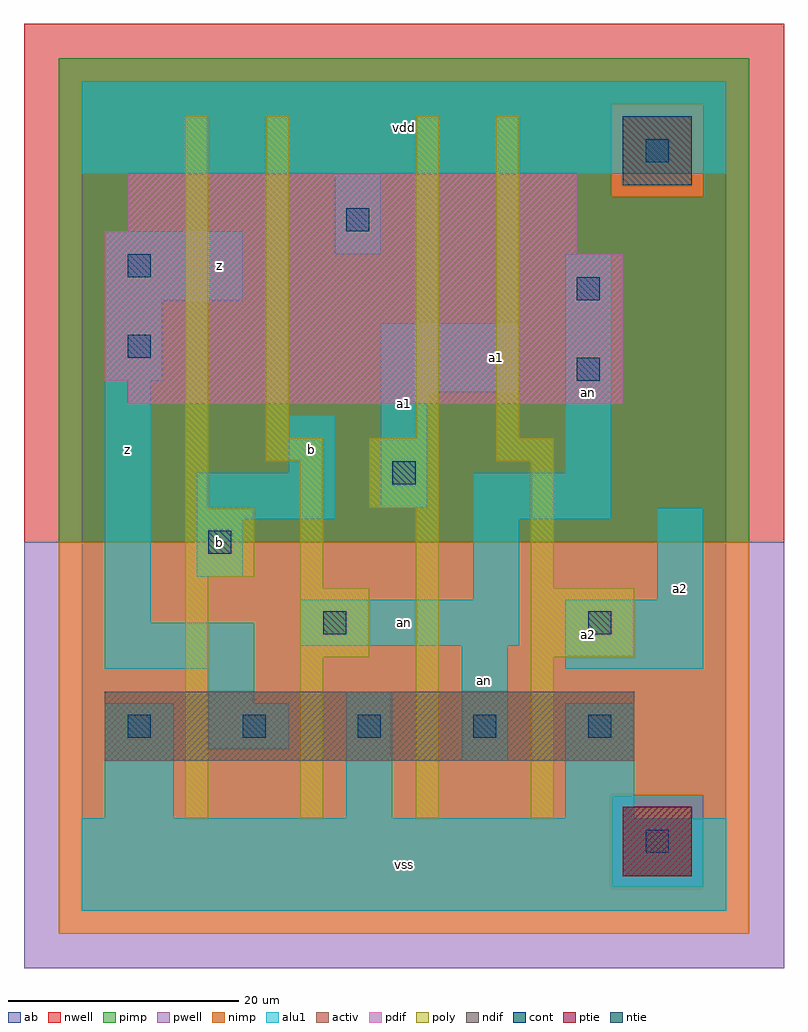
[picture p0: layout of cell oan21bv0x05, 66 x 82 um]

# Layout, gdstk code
import gdstk
lib = gdstk.Library(unit=1e-6, precision=1e-09)
def R(c, l, rs):  # rectangles x0, y0, x1, y1
    for r in rs: c.add(gdstk.rectangle(r[:2], r[2:], *l))
def A(c, l, x, y, w, h, nx, ny, dx, dy):  # array of equal rectangles
    R(c, l, [(x+i*dx, y+j*dy, x+i*dx+w, y+j*dy+h) for i in range(nx) for j in range(ny)])
ndif = (3, 0)
pdif = (4, 0)
ntie = (5, 0)
ptie = (6, 0)
cont = (25, 0)
pwell = (41, 0)
nwell = (42, 0)
activ = (43, 0)
pimp = (44, 0)
nimp = (45, 0)
poly = (46, 0)
alu1 = (49, 0)
ab = (63, 0)

oan21bv0x05 = lib.new_cell('oan21bv0x05')
R(oan21bv0x05, ndif, [(2,13,48,19)])
R(oan21bv0x05, pdif, [(4,44,47,46), (2,46,47,57), (2,57,43,59), (4,59,43,64)])
R(oan21bv0x05, ntie, [(47,63,53,69)])
R(oan21bv0x05, ptie, [(47,3,53,9)])
A(oan21bv0x05, cont, 4, 15, 2, 2, 5, 1, 10, 0)
R(oan21bv0x05, cont, [(49,5,51,7), (21,24,23,26), (44,24,46,26), (11,31,13,33), (27,37,29,39), (43,46,45,48), (4,48,6,50), (43,53,45,55), (4,55,6,57), (23,59,25,61), (49,65,51,67)])
R(oan21bv0x05, pwell, [(-5,-5,61,32)])
R(oan21bv0x05, nwell, [(-5,32,61,77)])
R(oan21bv0x05, activ, [(47,3,53,9), (2,13,48,19), (4,44,47,46), (2,46,47,57), (2,57,43,59), (4,59,43,64), (47,63,53,69)])
R(oan21bv0x05, pimp, [(46,2,54,10), (-2,32,58,62), (-2,62,46,70), (54,62,58,70), (-2,70,58,74)])
R(oan21bv0x05, nimp, [(-2,-2,58,2), (-2,2,46,10), (54,2,58,10), (-2,10,58,32), (46,62,54,70)])
R(oan21bv0x05, poly, [(9,8,11,29), (19,8,21,22), (29,8,31,35), (39,8,41,22), (19,22,25,28), (39,22,48,28), (19,28,21,39), (39,28,41,39), (9,29,15,35), (9,35,11,69), (25,35,31,41), (16,39,21,41), (36,39,41,41), (16,41,18,69), (29,41,31,69), (36,41,38,69)])
R(oan21bv0x05, alu1, [(0,0,56,8), (2,8,8,18), (23,8,27,19), (42,8,48,18), (33,13,37,23), (11,14,18,18), (11,18,15,21), (2,21,15,25), (42,21,54,27), (19,23,38,27), (2,25,6,46), (34,27,38,34), (50,27,54,35), (10,29,14,34), (10,34,22,38), (34,34,46,38), (26,35,30,45), (18,38,22,43), (42,38,46,57), (26,45,38,51), (2,46,7,53), (2,53,14,59), (22,57,26,64), (0,64,56,72)])
R(oan21bv0x05, ab, [(0,0,56,72)])
oan21bv0x05.add(gdstk.Label('an', (35,20), layer=49, texttype=0))
oan21bv0x05.add(gdstk.Label('an', (28,25), layer=49, texttype=0))
oan21bv0x05.add(gdstk.Label('an', (44,45), layer=49, texttype=0))
oan21bv0x05.add(gdstk.Label('z', (4,40), layer=49, texttype=0))
oan21bv0x05.add(gdstk.Label('b', (12,32), layer=49, texttype=0))
oan21bv0x05.add(gdstk.Label('b', (20,40), layer=49, texttype=0))
oan21bv0x05.add(gdstk.Label('z', (12,56), layer=49, texttype=0))
oan21bv0x05.add(gdstk.Label('vss', (28,4), layer=49, texttype=0))
oan21bv0x05.add(gdstk.Label('a1', (28,44), layer=49, texttype=0))
oan21bv0x05.add(gdstk.Label('a1', (36,48), layer=49, texttype=0))
oan21bv0x05.add(gdstk.Label('vdd', (28,68), layer=49, texttype=0))
oan21bv0x05.add(gdstk.Label('a2', (44,24), layer=49, texttype=0))
oan21bv0x05.add(gdstk.Label('a2', (52,28), layer=49, texttype=0))

lib.write_gds('oan21bv0x05.gds')
